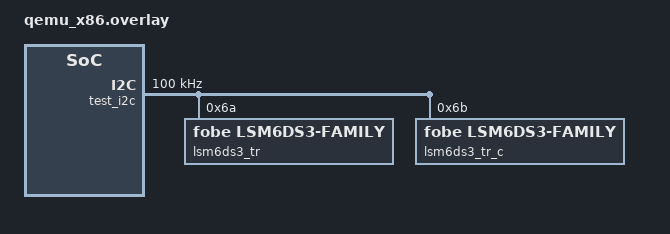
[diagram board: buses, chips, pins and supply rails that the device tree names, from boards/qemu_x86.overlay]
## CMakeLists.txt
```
# Copyright (c) 2026 FoBE Studio
# SPDX-License-Identifier: Apache-2.0

cmake_minimum_required(VERSION 3.20.0)

find_package(Zephyr REQUIRED HINTS $ENV{ZEPHYR_BASE})
project(lsm6ds3_family_test)

target_sources(app PRIVATE src/main.c)
```

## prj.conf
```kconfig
# SPDX-FileCopyrightText: FoBE Studio
# SPDX-License-Identifier: Apache-2.0

CONFIG_ZTEST=y
CONFIG_ASSERT=y

CONFIG_LOG=y
CONFIG_LOG_MODE_MINIMAL=y

CONFIG_EMUL=y
CONFIG_I2C=y
CONFIG_I2C_EMUL=y
CONFIG_SENSOR=y
CONFIG_PM_DEVICE=y
CONFIG_PM_DEVICE_RUNTIME=y
CONFIG_FOBE_LSM6DS3_FAMILY=y
```

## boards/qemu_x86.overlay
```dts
/*
 * Copyright (c) 2026 FoBE Studio
 *
 * SPDX-License-Identifier: Apache-2.0
 */

#include <zephyr/dt-bindings/i2c/i2c.h>

/ {
	test_i2c: i2c@100 {
		compatible = "zephyr,i2c-emul-controller";
		clock-frequency = <I2C_BITRATE_STANDARD>;
		#address-cells = <1>;
		#size-cells = <0>;
		reg = <0x100 4>;
		status = "okay";

		lsm6ds3_tr: sensor@6a {
			compatible = "fobe,lsm6ds3-family";
			reg = <0x6a>;
			status = "okay";
		};

		lsm6ds3_tr_c: sensor@6b {
			compatible = "fobe,lsm6ds3-family";
			reg = <0x6b>;
			status = "okay";
		};
	};
};
```

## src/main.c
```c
/*
 * Copyright (c) 2026 FoBE Studio
 *
 * SPDX-License-Identifier: Apache-2.0
 */

#include <errno.h>
#include <string.h>

#include <zephyr/device.h>
#include <zephyr/drivers/emul.h>
#include <zephyr/drivers/i2c.h>
#include <zephyr/drivers/i2c_emul.h>
#include <zephyr/drivers/sensor.h>
#include <zephyr/pm/device_runtime.h>
#include <zephyr/sys/byteorder.h>
#include <zephyr/ztest.h>

#define LSM6DS3_TR_NODE   DT_NODELABEL(lsm6ds3_tr)
#define LSM6DS3_TR_C_NODE DT_NODELABEL(lsm6ds3_tr_c)

#define LSM6DS3_REG_WHO_AM_I 0x0f
#define LSM6DS3_REG_CTRL3_C  0x12
#define LSM6DS3_REG_OUT_TEMP 0x20
#define LSM6DS3_CTRL3_SW_RESET BIT(0)
#define LSM6DS3_ID_TR          0x69
#define LSM6DS3_ID_TR_C        0x6a

struct lsm6ds3_emul_config {
	uint8_t chip_id;
};

struct lsm6ds3_emul_data {
	uint8_t regs[UINT8_MAX + 1U];
};

static const struct device *const tr_dev = DEVICE_DT_GET(LSM6DS3_TR_NODE);
static const struct device *const tr_c_dev = DEVICE_DT_GET(LSM6DS3_TR_C_NODE);

static int lsm6ds3_emul_transfer(const struct emul *target, struct i2c_msg *msgs,
				 int num_msgs, int addr)
{
	struct lsm6ds3_emul_data *data = target->data;
	uint8_t reg;

	ARG_UNUSED(addr);

	if (num_msgs == 2 && msgs[0].len == 1U &&
	    (msgs[0].flags & I2C_MSG_READ) == 0U &&
	    (msgs[1].flags & I2C_MSG_READ) != 0U) {
		reg = msgs[0].buf[0];
		for (size_t i = 0U; i < msgs[1].len; i++) {
			msgs[1].buf[i] = data->regs[(uint8_t)(reg + i)];
		}
		return 0;
	}

	if (num_msgs == 1 && (msgs[0].flags & I2C_MSG_READ) == 0U &&
	    msgs[0].len >= 2U) {
		reg = msgs[0].buf[0];
		for (size_t i = 1U; i < msgs[0].len; i++) {
			data->regs[(uint8_t)(reg + i - 1U)] = msgs[0].buf[i];
		}
		/* Hardware clears SW_RESET when the reset has completed. */
		data->regs[LSM6DS3_REG_CTRL3_C] &= (uint8_t)~LSM6DS3_CTRL3_SW_RESET;
		return 0;
	}

	return -EIO;
}

static int lsm6ds3_emul_init(const struct emul *target, const struct device *parent)
{
	const struct lsm6ds3_emul_config *cfg = target->cfg;
	struct lsm6ds3_emul_data *data = target->data;

	ARG_UNUSED(parent);
	memset(data, 0, sizeof(*data));
	data->regs[LSM6DS3_REG_WHO_AM_I] = cfg->chip_id;
	return 0;
}

static const struct i2c_emul_api lsm6ds3_emul_api = {
	.transfer = lsm6ds3_emul_transfer,
};

#define LSM6DS3_EMUL_DEFINE(node_id, id)                                            \
	static struct lsm6ds3_emul_data node_id##_emul_data;                         \
	static const struct lsm6ds3_emul_config node_id##_emul_config = {             \
		.chip_id = (id),                                                        \
	};                                                                              \
	EMUL_DT_DEFINE(node_id, lsm6ds3_emul_init, &node_id##_emul_data,              \
		       &node_id##_emul_config, &lsm6ds3_emul_api, NULL)

LSM6DS3_EMUL_DEFINE(LSM6DS3_TR_NODE, LSM6DS3_ID_TR);
LSM6DS3_EMUL_DEFINE(LSM6DS3_TR_C_NODE, LSM6DS3_ID_TR_C);

static void lsm6ds3_temperature_raw_set(const struct emul *target, int16_t raw)
{
	struct lsm6ds3_emul_data *data = target->data;

	sys_put_le16((uint16_t)raw, &data->regs[LSM6DS3_REG_OUT_TEMP]);
}

static void *lsm6ds3_setup(void)
{
	zassert_true(device_is_ready(tr_dev));
	zassert_true(device_is_ready(tr_c_dev));
	zassert_ok(pm_device_runtime_enable(tr_dev));
	zassert_ok(pm_device_runtime_enable(tr_c_dev));
	zassert_ok(pm_device_runtime_get(tr_dev));
	zassert_ok(pm_device_runtime_get(tr_c_dev));
	return NULL;
}

static void lsm6ds3_after(void *fixture)
{
	ARG_UNUSED(fixture);
	zassert_ok(pm_device_runtime_put(tr_dev));
	zassert_ok(pm_device_runtime_put(tr_c_dev));
}

ZTEST(lsm6ds3_family, test_temperature_sensitivity_follows_detected_variant)
{
	const struct emul *tr_emul = EMUL_DT_GET(LSM6DS3_TR_NODE);
	const struct emul *tr_c_emul = EMUL_DT_GET(LSM6DS3_TR_C_NODE);
	struct sensor_value value;

	/* The same raw value is 1 deg C on 0x69 and 1/16 deg C on 0x6a. */
	lsm6ds3_temperature_raw_set(tr_emul, 16);
	lsm6ds3_temperature_raw_set(tr_c_emul, 16);

	zassert_ok(sensor_sample_fetch_chan(tr_dev, SENSOR_CHAN_DIE_TEMP));
	zassert_ok(sensor_channel_get(tr_dev, SENSOR_CHAN_DIE_TEMP, &value));
	zassert_equal(sensor_value_to_micro(&value), 26000000LL);

	zassert_ok(sensor_sample_fetch_chan(tr_c_dev, SENSOR_CHAN_DIE_TEMP));
	zassert_ok(sensor_channel_get(tr_c_dev, SENSOR_CHAN_DIE_TEMP, &value));
	zassert_equal(sensor_value_to_micro(&value), 25062500LL);
}

ZTEST_SUITE(lsm6ds3_family, NULL, lsm6ds3_setup, NULL, NULL, lsm6ds3_after);
```
